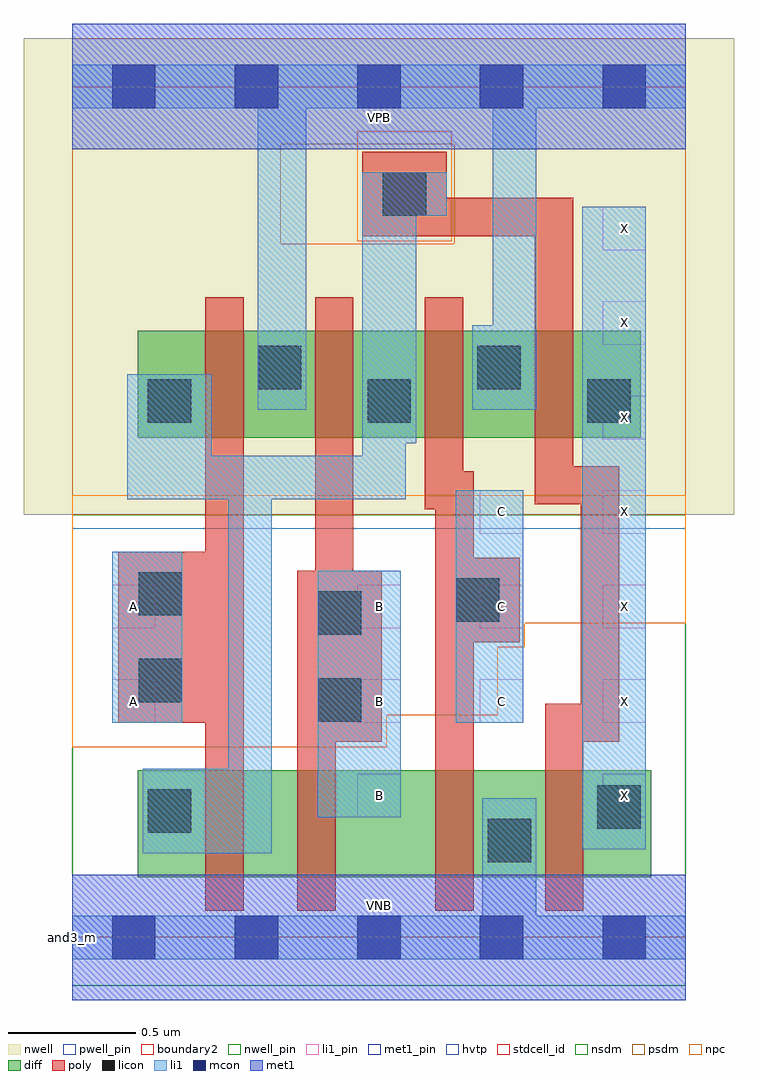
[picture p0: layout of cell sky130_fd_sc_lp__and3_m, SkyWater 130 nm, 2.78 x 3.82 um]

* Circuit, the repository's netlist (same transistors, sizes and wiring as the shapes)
* Copyright 2020 The SkyWater PDK Authors
*
* Licensed under the Apache License, Version 2.0 (the "License");
* you may not use this file except in compliance with the License.
* You may obtain a copy of the License at
*
*     https://www.apache.org/licenses/LICENSE-2.0
*
* Unless required by applicable law or agreed to in writing, software
* distributed under the License is distributed on an "AS IS" BASIS,
* WITHOUT WARRANTIES OR CONDITIONS OF ANY KIND, either express or implied.
* See the License for the specific language governing permissions and
* limitations under the License.
*
* SPDX-License-Identifier: Apache-2.0

.SUBCKT sky130_fd_sc_lp__and3_m A B C VGND VNB VPB VPWR X
*.PININFO A:I B:I C:I VGND:I VNB:I VPB:I VPWR:I X:O
MMP0 y A VPWR VPB sky130_fd_pr__pfet_01v8_hvt m=1 w=0.42U l=0.15U mult=1 sa=0.265
+ sb=0.265 sd=0.28 area=0.063 perim=1.14
MMP1 y B VPWR VPB sky130_fd_pr__pfet_01v8_hvt m=1 w=0.42U l=0.15U mult=1 sa=0.265
+ sb=0.265 sd=0.28 area=0.063 perim=1.14
MMP2 y C VPWR VPB sky130_fd_pr__pfet_01v8_hvt m=1 w=0.42U l=0.15U mult=1 sa=0.265
+ sb=0.265 sd=0.28 area=0.063 perim=1.14
MMIP0 X y VPWR VPB sky130_fd_pr__pfet_01v8_hvt m=1 w=0.42U l=0.15U mult=1 sa=0.265
+ sb=0.265 sd=0.28 area=0.063 perim=1.14
MMN0 y A sndA VNB sky130_fd_pr__nfet_01v8 m=1 w=0.42U l=0.15U mult=1 sa=0.265 sb=0.265
+ sd=0.28 area=0.063 perim=1.14
MMN1 sndA B sndB VNB sky130_fd_pr__nfet_01v8 m=1 w=0.42U l=0.15U mult=1 sa=0.265
+ sb=0.265 sd=0.28 area=0.063 perim=1.14
MMN2 sndB C VGND VNB sky130_fd_pr__nfet_01v8 m=1 w=0.42U l=0.15U mult=1 sa=0.265
+ sb=0.265 sd=0.28 area=0.063 perim=1.14
MMIN0 X y VGND VNB sky130_fd_pr__nfet_01v8 m=1 w=0.42U l=0.15U mult=1 sa=0.265
+ sb=0.265 sd=0.28 area=0.063 perim=1.14
.ENDS sky130_fd_sc_lp__and3_m

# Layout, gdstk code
import gdstk
lib = gdstk.Library(unit=1e-6, precision=1e-09)
def R(c, l, rs):  # rectangles x0, y0, x1, y1
    for r in rs: c.add(gdstk.rectangle(r[:2], r[2:], *l))
def A(c, l, x, y, w, h, nx, ny, dx, dy):  # array of equal rectangles
    R(c, l, [(x+i*dx, y+j*dy, x+i*dx+w, y+j*dy+h) for i in range(nx) for j in range(ny)])
def P(c, l, *ps):  # polygons
    for p in ps: c.add(gdstk.Polygon(p, *l))
nwell_pin = (64, 16)
nwell = (64, 20)
diff = (65, 20)
poly = (66, 20)
licon = (66, 44)
li1_pin = (67, 16)
li1 = (67, 20)
mcon = (67, 44)
met1_pin = (68, 16)
met1 = (68, 20)
hvtp = (78, 44)
stdcell_id = (81, 4)
nsdm = (93, 44)
psdm = (94, 20)
npc = (95, 20)
pwell_pin = (122, 16)
boundary2 = (236, 0)

sky130_fd_sc_lp__and3_m = lib.new_cell('sky130_fd_sc_lp__and3_m')
R(sky130_fd_sc_lp__and3_m, nwell_pin, [(0,3.085,2.4,3.33)])
R(sky130_fd_sc_lp__and3_m, nwell, [(-0.19,1.655,2.59,3.52)])
R(sky130_fd_sc_lp__and3_m, diff, [(0.255,0.235,2.265,0.655), (0.255,1.955,2.225,2.375)])
P(sky130_fd_sc_lp__and3_m, poly, [(0.67,2.505),(0.52,2.505),(0.52,1.51),(0.18,1.51),(0.18,0.84),(0.52,0.84),(0.52,0.105),(0.67,0.105)],
  [(1.21,1.435),(1.1,1.435),(1.1,2.505),(0.95,2.505),(0.95,1.435),(0.88,1.435),(0.88,0.105),(1.03,0.105),(1.03,0.765),(1.21,0.765)],
  [(1.75,1.485),(1.57,1.485),(1.57,1.825),(1.53,1.825),(1.53,2.505),(1.38,2.505),(1.38,1.675),(1.42,1.675),(1.42,0.105),(1.57,0.105),(1.57,1.155),(1.75,1.155)],
  [(2.14,1.845),(1.96,1.845),(1.96,2.895),(1.465,2.895),(1.465,3.075),(1.135,3.075),(1.135,2.745),(1.81,2.745),(1.81,1.695),(1.99,1.695),(1.99,0.915),(1.85,0.915),(1.85,0.105),(2,0.105),(2,0.765),(2.14,0.765)])
A(sky130_fd_sc_lp__and3_m, licon, 0.295, 2.015, 0.17, 0.17, 3, 1, 0.86, 0)
R(sky130_fd_sc_lp__and3_m, licon, [(1.625,0.295,1.795,0.465), (0.295,0.41,0.465,0.58), (2.055,0.425,2.225,0.595), (0.96,0.845,1.13,1.015), (0.26,0.92,0.43,1.09), (0.96,1.185,1.13,1.355), (1.5,1.235,1.67,1.405), (0.26,1.26,0.43,1.43), (0.725,2.145,0.895,2.315), (1.585,2.145,1.755,2.315), (1.215,2.825,1.385,2.995)])
A(sky130_fd_sc_lp__and3_m, li1_pin, 1.115, 0.84, 0.17, 0.17, 3, 2, 0.48, 0.37)
A(sky130_fd_sc_lp__and3_m, li1_pin, 2.075, 1.58, 0.17, 0.17, 1, 4, 0, 0.37)
R(sky130_fd_sc_lp__and3_m, li1_pin, [(1.115,0.47,1.285,0.64), (2.075,0.47,2.245,0.64), (0.155,0.84,0.325,1.01), (0.155,1.21,0.325,1.38), (1.595,1.58,1.765,1.75)])
R(sky130_fd_sc_lp__and3_m, li1, [(1.995,0.345,2.245,2.86), (0.96,0.47,1.285,1.435), (0.155,0.84,0.43,1.51), (1.5,0.84,1.765,1.75)])
P(sky130_fd_sc_lp__and3_m, li1, [(1.645,2.395),(1.645,3.245),(0.915,3.245),(0.915,2.065),(0.725,2.065),(0.725,3.245),(0,3.245),(0,3.415),(2.4,3.415),(2.4,3.245),(1.815,3.245),(1.815,2.065),(1.565,2.065),(1.565,2.395)],
  [(1.605,0.085),(1.605,0.545),(1.815,0.545),(1.815,0.085),(2.4,0.085),(2.4,-0.085),(0,-0.085),(0,0.085)],
  [(1.135,2.995),(1.465,2.995),(1.465,2.825),(1.345,2.825),(1.345,1.935),(1.305,1.935),(1.305,1.715),(0.78,1.715),(0.78,0.33),(0.275,0.33),(0.275,0.66),(0.61,0.66),(0.61,1.715),(0.215,1.715),(0.215,2.205),(0.545,2.205),(0.545,1.885),(1.135,1.885)])
A(sky130_fd_sc_lp__and3_m, mcon, 0.155, -0.085, 0.17, 0.17, 5, 2, 0.48, 3.33)
R(sky130_fd_sc_lp__and3_m, met1_pin, [(0,0,2.4,0.245), (0,3.085,2.4,3.33)])
R(sky130_fd_sc_lp__and3_m, met1, [(0,-0.245,2.4,0.245), (0,3.085,2.4,3.575)])
R(sky130_fd_sc_lp__and3_m, hvtp, [(0,1.6,2.4,3.33)])
R(sky130_fd_sc_lp__and3_m, stdcell_id, [(0,0,2.4,3.33)])
R(sky130_fd_sc_lp__and3_m, nsdm, [(0,-0.19,2.4,1.655)])
P(sky130_fd_sc_lp__and3_m, psdm, [(2.4,3.52),(1.495,3.52),(1.495,2.715),(0.815,2.715),(0.815,3.105),(1.495,3.105),(1.495,3.52),(0,3.52),(0,1.655),(2.4,1.655)])
R(sky130_fd_sc_lp__and3_m, npc, [(1.115,2.725,1.485,3.155)])
P(sky130_fd_sc_lp__and3_m, npc, [(2.4,1.73),(0,1.73),(0,0.745),(1.23,0.745),(1.23,0.87),(1.665,0.87),(1.665,1.135),(1.77,1.135),(1.77,1.23),(2.4,1.23)])
R(sky130_fd_sc_lp__and3_m, pwell_pin, [(0,0,2.4,0.245)])
R(sky130_fd_sc_lp__and3_m, boundary2, [(0,0,2.4,3.33)])
sky130_fd_sc_lp__and3_m.add(gdstk.Label('VNB', (1.2,0.123), layer=64, texttype=59))
sky130_fd_sc_lp__and3_m.add(gdstk.Label('VPB', (1.2,3.208), layer=64, texttype=5))
sky130_fd_sc_lp__and3_m.add(gdstk.Label('and3_m', (0,0), layer=83, texttype=44))
sky130_fd_sc_lp__and3_m.add(gdstk.Label('VPWR', (1.2,3.208), layer=68, texttype=5))
sky130_fd_sc_lp__and3_m.add(gdstk.Label('VGND', (1.2,0.123), layer=68, texttype=5))
sky130_fd_sc_lp__and3_m.add(gdstk.Label('A', (0.24,0.925), layer=67, texttype=5))
sky130_fd_sc_lp__and3_m.add(gdstk.Label('A', (0.24,1.295), layer=67, texttype=5))
sky130_fd_sc_lp__and3_m.add(gdstk.Label('B', (1.2,0.555), layer=67, texttype=5))
sky130_fd_sc_lp__and3_m.add(gdstk.Label('B', (1.2,0.925), layer=67, texttype=5))
sky130_fd_sc_lp__and3_m.add(gdstk.Label('B', (1.2,1.295), layer=67, texttype=5))
sky130_fd_sc_lp__and3_m.add(gdstk.Label('C', (1.68,0.925), layer=67, texttype=5))
sky130_fd_sc_lp__and3_m.add(gdstk.Label('C', (1.68,1.295), layer=67, texttype=5))
sky130_fd_sc_lp__and3_m.add(gdstk.Label('C', (1.68,1.665), layer=67, texttype=5))
sky130_fd_sc_lp__and3_m.add(gdstk.Label('X', (2.16,0.555), layer=67, texttype=5))
sky130_fd_sc_lp__and3_m.add(gdstk.Label('X', (2.16,0.925), layer=67, texttype=5))
sky130_fd_sc_lp__and3_m.add(gdstk.Label('X', (2.16,1.295), layer=67, texttype=5))
sky130_fd_sc_lp__and3_m.add(gdstk.Label('X', (2.16,1.665), layer=67, texttype=5))
sky130_fd_sc_lp__and3_m.add(gdstk.Label('X', (2.16,2.035), layer=67, texttype=5))
sky130_fd_sc_lp__and3_m.add(gdstk.Label('X', (2.16,2.405), layer=67, texttype=5))
sky130_fd_sc_lp__and3_m.add(gdstk.Label('X', (2.16,2.775), layer=67, texttype=5))

lib.write_gds('sky130_fd_sc_lp__and3_m.gds')
